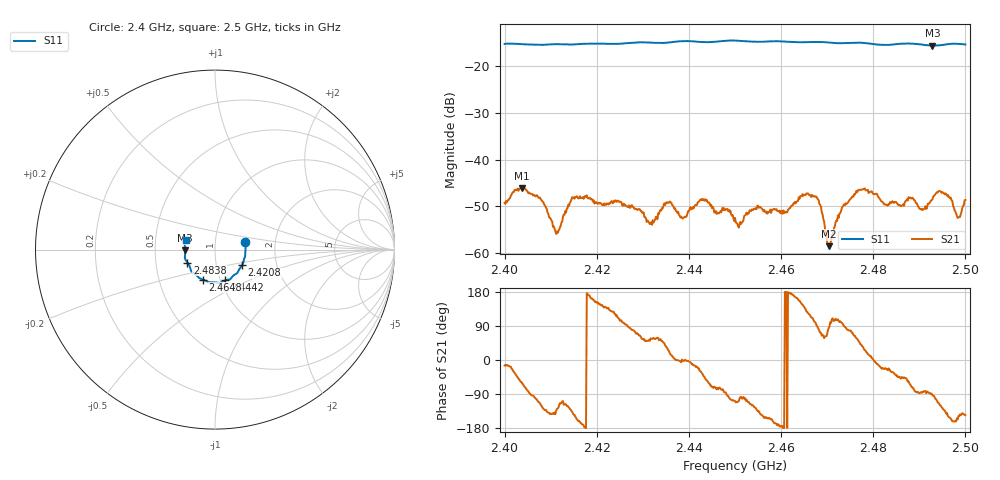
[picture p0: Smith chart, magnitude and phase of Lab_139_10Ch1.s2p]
# Hz S RI R 50
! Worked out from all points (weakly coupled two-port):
!   601 points, 2.4 GHz to 2.5 GHz, reference 50 ohm
!   highest |S21| = -46.11 dB at 2.4037 GHz (marker M1); lowest = -58.5 dB at 2.4703 GHz (marker M2)
!   lowest |S11| = -15.6 dB at 2.4928 GHz (marker M3), VSWR 1.40, Z = 35.8 - j0.36 ohm
!   |S11| at or under -10 dB: start of sweep to end of sweep
!   S12 and S22 are empty: the file has one direction only
!   S11 on the Smith chart (normalised r, x): 2.4 GHz: 1.40, +0.12; 2.4208 GHz: 1.33, -0.24; 2.4442 GHz: 1.05, -0.37; 2.4648 GHz: 0.83, -0.29; 2.4838 GHz: 0.73, -0.11; 2.5 GHz: 0.72, +0.08
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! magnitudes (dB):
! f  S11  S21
! 2.4 GHz  -15.3  -49.2
! 2.4037 GHz  -15.3  -46.1
! 2.408 GHz  -15.4  -48.7
! 2.4113 GHz  -15.3  -55.3
! 2.4143 GHz  -15.4  -49.0
! 2.4167 GHz  -15.2  -48.2
! 2.4208 GHz  -15.2  -49.3
! 2.4333 GHz  -15.0  -51.5
! 2.4442 GHz  -14.9  -49.2
! 2.45 GHz  -14.5  -52.5
! 2.4648 GHz  -14.9  -47.7
! 2.4667 GHz  -14.8  -47.5
! 2.4682 GHz  -14.8  -48.7
! 2.4703 GHz  -15.0  -58.5
! 2.4732 GHz  -15.1  -50.4
! 2.4768 GHz  -15.0  -46.5
! 2.4833 GHz  -15.5  -49.5
! 2.4838 GHz  -15.4  -49.2
! 2.4928 GHz  -15.6  -48.5
! 2.4957 GHz  -15.4  -47.2
! 2.4985 GHz  -15.2  -52.4
! 2.5 GHz  -15.4  -48.6
